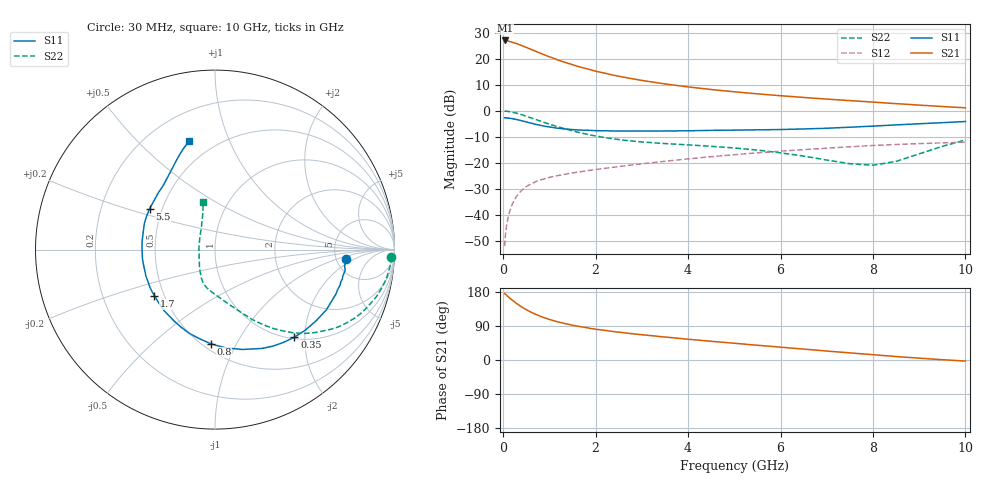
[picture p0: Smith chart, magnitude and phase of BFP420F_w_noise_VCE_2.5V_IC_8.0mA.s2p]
! Infineon Technologies  Discrete & RF Semiconductors
! BFP420F
! VCE =  2.5 V,  IC =  8.0 mA
! Common Emitter S-Parameters:  Sep 2011
# GHz  S  MA  R  50
!  f  S11  S21  S12  S22
! GHz  MAG  ANG  MAG  ANG  MAG  ANG  MAG  ANG
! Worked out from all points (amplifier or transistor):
!   54 points, 30 MHz to 10 GHz, reference 50 ohm
!   highest |S21| = 27.0 dB at 40 MHz (marker M1)
!   |S21| within 3 dB of that: start of sweep to 542.6 MHz
!   unconditionally stable (mu >= 1): 2.225 GHz to end of sweep
!   at 120 MHz: K = 0.12, MSG = 33.3 dB, |S12| = -39.9 dB
!   at 1.3 GHz: K = 0.68, MSG = 21.7 dB, |S12| = -24.5 dB
!   at 10 GHz: K = 1.31, MAG = 3.3 dB, |S12| = -12.1 dB
!   lowest NFmin = 1.08 dB at 450 MHz
!   S11 on the Smith chart (normalised r, x): 30 MHz: 6.19, -1.41; 350 MHz: 1.03, -1.78; 800 MHz: 0.55, -0.79; 1.7 GHz: 0.44, -0.28; 5.5 GHz: 0.43, +0.24; 10 GHz: 0.37, +0.72
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0.03  0.7341 -4.1  22.41 175.8  0.0025 88.4  0.9822 -2.4
0.04  0.7316 -5.7  22.42 174.6  0.0034 89.0  0.9815 -3.2
0.05  0.7275 -7.0  22.2 173.0  0.0042 87.4  0.9814 -4.1
0.1  0.7235 -14.5  22 167.7  0.0083 83.9  0.9717 -8.3
0.15  0.7143 -21.7  21.27 162.3  0.0124 80.1  0.9564 -12.3
0.25  0.689 -35.2  19.95 152.7  0.0198 74.7  0.914 -19.6
0.35  0.6589 -47.8  18.62 144.0  0.0266 69.6  0.865 -26.3
0.4  0.6424 -53.7  17.87 140.0  0.0295 67.5  0.8382 -29.2
0.5  0.6096 -64.6  16.47 132.8  0.0349 63.5  0.7832 -34.5
0.6  0.5766 -74.8  15.1 126.3  0.0393 60.2  0.7285 -39.3
0.8  0.5252 -92.6  12.79 115.4  0.0466 55.7  0.6331 -47.0
1  0.4883 -106.9  10.88 107.1  0.0524 52.9  0.5526 -53.1
1.2  0.4595 -119.4  9.33 100.0  0.0572 51.0  0.4872 -58.1
1.5  0.4342 -134.6  7.663 91.6  0.0639 49.6  0.4115 -64.3
1.7  0.4243 -142.7  6.78 87.5  0.0679 49.2  0.3714 -68.2
1.9  0.419 -150.1  6.106 83.0  0.0722 49.0  0.3404 -71.8
2.4  0.408 -163.9  4.788 74.8  0.0826 48.4  0.2875 -80.5
3.5  0.4086 174.4  3.276 60.6  0.107 47.1  0.234 -95.5
5.5  0.4296 147.8  2.112 38.9  0.1552 40.1  0.1755 -115.7
7  0.461 128.3  1.675 23.6  0.1908 32.7  0.1129 -140.5
8.5  0.5349 114.3  1.371 9.1  0.2249 23.6  0.1063 143.0
10  0.6206 103.5  1.139 -2.8  0.2497 15.0  0.2737 103.8
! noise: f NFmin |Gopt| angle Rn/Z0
0.45  1.08  0.09  22  0.18
0.9  1.1  0.1  56  0.15
1.9  1.26  0.14  138  0.2
2.4  1.33  0.15  140  0.13
3.5  1.6  0.2  167  0.13
